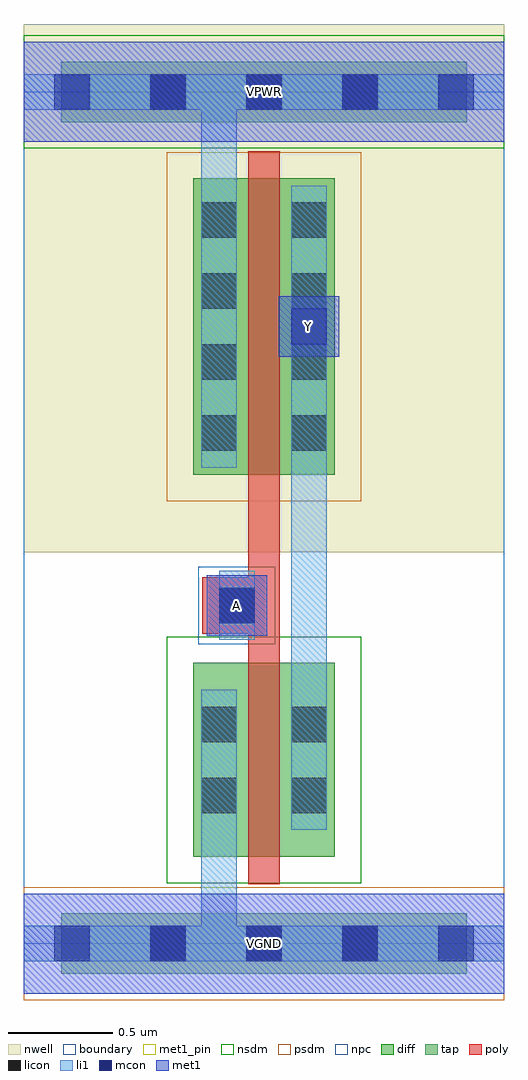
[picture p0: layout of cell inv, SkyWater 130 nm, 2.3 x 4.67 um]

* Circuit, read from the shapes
.subckt inv A VGND VPWR Y
XM1 Y A VGND VGND sky130_fd_pr__nfet_01v8 w=0.93 l=0.15
XM2 Y A VPWR VPWR sky130_fd_pr__pfet_01v8 w=1.42 l=0.15
.ends

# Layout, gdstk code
import gdstk
lib = gdstk.Library(unit=1e-6, precision=1e-09)
def R(c, l, rs):  # rectangles x0, y0, x1, y1
    for r in rs: c.add(gdstk.rectangle(r[:2], r[2:], *l))
def A(c, l, x, y, w, h, nx, ny, dx, dy):  # array of equal rectangles
    R(c, l, [(x+i*dx, y+j*dy, x+i*dx+w, y+j*dy+h) for i in range(nx) for j in range(ny)])
nwell = (64, 20)
diff = (65, 20)
tap = (65, 44)
poly = (66, 20)
licon = (66, 44)
li1 = (67, 20)
mcon = (67, 44)
met1_pin = (68, 16)
met1 = (68, 20)
nsdm = (93, 44)
psdm = (94, 20)
npc = (95, 20)
boundary = (235, 4)

inv = lib.new_cell('inv')
R(inv, nwell, [(0,1.875,2.3,4.405)])
R(inv, diff, [(0.81,0.415,1.49,1.345), (0.81,2.245,1.49,3.665)])
R(inv, tap, [(0.18,-0.145,2.12,0.145), (0.18,3.935,2.12,4.225)])
R(inv, poly, [(1.075,0.285,1.225,3.795), (0.855,1.485,1.185,1.755)])
A(inv, licon, 0.605, -0.085, 0.17, 0.17, 3, 2, 0.46, 4.08)
A(inv, licon, 0.85, 2.36, 0.17, 0.17, 1, 4, 0, 0.34)
A(inv, licon, 1.28, 2.36, 0.17, 0.17, 1, 4, 0, 0.34)
R(inv, licon, [(0.85,0.625,1.02,0.795), (1.28,0.625,1.45,0.795), (0.85,0.965,1.02,1.135), (1.28,0.965,1.45,1.135), (0.935,1.535,1.105,1.705)])
R(inv, li1, [(0,-0.085,2.3,0.085), (0.85,-0.085,1.02,1.215), (0.85,0.545,1.02,1.215), (1.28,0.545,1.45,1.215), (1.28,0.545,1.45,3.63), (0.935,1.455,1.105,1.785), (0.85,2.28,1.02,3.63), (0.85,2.28,1.02,4.165), (1.28,2.28,1.45,3.63), (0,3.995,2.3,4.165)])
A(inv, mcon, 0.145, -0.085, 0.17, 0.17, 5, 2, 0.46, 4.08)
R(inv, mcon, [(0.935,1.535,1.105,1.705), (1.28,2.87,1.45,3.04)])
R(inv, met1_pin, [(0,-0.24,2.3,0.24), (0.875,1.475,1.165,1.765), (1.22,2.81,1.51,3.1), (0,3.84,2.3,4.32)])
R(inv, met1, [(0,-0.24,2.3,0.24), (0.875,1.475,1.165,1.765), (1.22,2.81,1.51,3.1), (0,3.84,2.3,4.32)])
R(inv, nsdm, [(0.685,0.29,1.615,1.47), (0,3.81,2.3,4.35)])
R(inv, psdm, [(0,-0.27,2.3,0.27), (0.685,2.12,1.615,3.79)])
R(inv, npc, [(0.835,1.435,1.205,1.805)])
R(inv, boundary, [(0,0,2.3,4.08)])
inv.add(gdstk.Label('A', (1.02,1.62), layer=68, texttype=5))
inv.add(gdstk.Label('Y', (1.365,2.955), layer=68, texttype=5))
inv.add(gdstk.Label('VPWR', (1.15,4.08), layer=68, texttype=5))
inv.add(gdstk.Label('VGND', (1.15,0), layer=68, texttype=5))
inv.add(gdstk.Label('A', (1.02,1.62), layer=68, texttype=16))
inv.add(gdstk.Label('Y', (1.365,2.955), layer=68, texttype=16))
inv.add(gdstk.Label('VPWR', (1.15,4.08), layer=68, texttype=16))
inv.add(gdstk.Label('VGND', (1.15,0), layer=68, texttype=16))

lib.write_gds('inv.gds')
